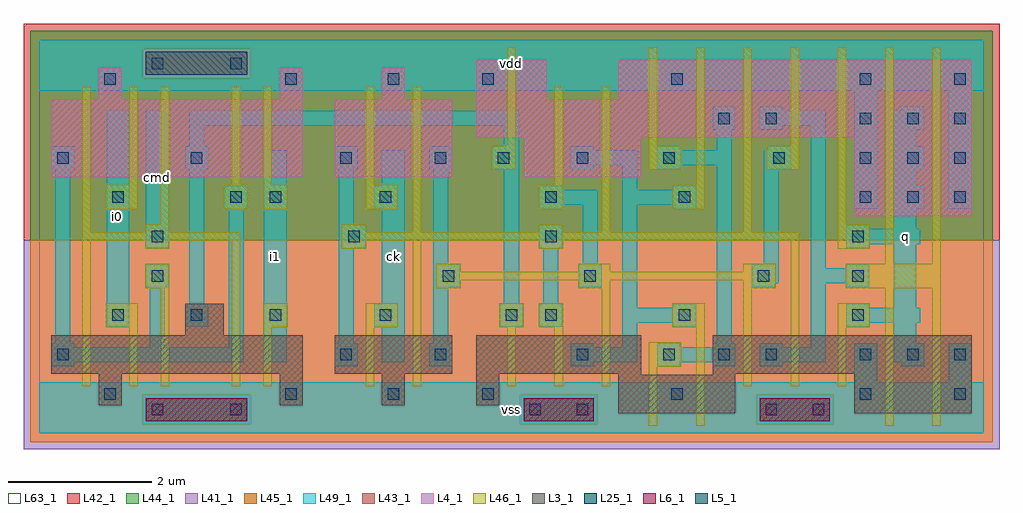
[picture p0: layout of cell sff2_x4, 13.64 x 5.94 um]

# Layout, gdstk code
import gdstk
lib = gdstk.Library(unit=1e-6, precision=1e-09)
def R(c, l, rs):  # rectangles x0, y0, x1, y1
    for r in rs: c.add(gdstk.rectangle(r[:2], r[2:], *l))
def A(c, l, x, y, w, h, nx, ny, dx, dy):  # array of equal rectangles
    R(c, l, [(x+i*dx, y+j*dy, x+i*dx+w, y+j*dy+h) for i in range(nx) for j in range(ny)])
L3_1 = (3, 1)
L4_1 = (4, 1)
L5_1 = (5, 1)
L6_1 = (6, 1)
L25_1 = (25, 1)
L41_1 = (41, 1)
L42_1 = (42, 1)
L43_1 = (43, 1)
L44_1 = (44, 1)
L45_1 = (45, 1)
L46_1 = (46, 1)
L49_1 = (49, 1)
L63_1 = (63, 1)

sff2_x4 = lib.new_cell('sff2_x4')
R(sff2_x4, L3_1, [(8.09,0.28,9.73,0.82), (11.39,0.28,13.03,0.83), (0.83,0.39,1.15,0.83), (3.36,0.39,3.68,0.83), (4.79,0.39,5.11,0.83), (6.11,0.39,6.43,0.83), (8.09,0.82,8.41,0.83), (9.41,0.82,9.73,0.83), (0.17,0.83,3.68,1.37), (4.13,0.83,5.77,1.37), (6.11,0.83,8.41,1.37), (9.41,0.83,13.03,1.37), (2.04,1.37,2.58,1.81)])
R(sff2_x4, L4_1, [(11.39,3.03,13.03,4.13), (0.17,3.58,3.68,4.67), (4.13,3.58,5.77,4.67), (6.77,3.58,8.41,4.13), (6.11,4.13,13.03,4.67), (0.83,4.67,1.15,5.11), (3.36,4.67,3.68,5.11), (4.79,4.67,5.11,5.11), (6.11,4.67,7.09,5.22), (8.09,4.67,13.03,5.22)])
R(sff2_x4, L5_1, [(1.49,5.01,2.91,5.33)])
R(sff2_x4, L6_1, [(1.49,0.17,2.91,0.49), (6.77,0.17,7.75,0.49), (10.07,0.17,11.05,0.49)])
A(sff2_x4, L25_1, 6.19, 0.47, 0.16, 0.16, 3, 2, 2.64, 4.4)
A(sff2_x4, L25_1, 11.47, 1.02, 0.16, 0.16, 3, 2, 0.66, 2.2)
A(sff2_x4, L25_1, 1.02, 1.57, 0.16, 0.16, 3, 1, 1.1, 0)
A(sff2_x4, L25_1, 11.36, 1.57, 0.16, 0.16, 1, 3, 0, 0.55)
A(sff2_x4, L25_1, 1.57, 2.67, 0.16, 0.16, 3, 1, 2.75, 0)
A(sff2_x4, L25_1, 11.47, 3.77, 0.16, 0.16, 3, 2, 0.66, 0.55)
R(sff2_x4, L25_1, [(1.57,0.25,1.73,0.41), (2.67,0.25,2.83,0.41), (6.85,0.25,7.01,0.41), (7.51,0.25,7.67,0.41), (10.15,0.25,10.31,0.41), (10.81,0.25,10.97,0.41), (0.91,0.47,1.07,0.63), (3.44,0.47,3.6,0.63), (4.87,0.47,5.03,0.63), (12.79,0.47,12.95,0.63), (0.25,1.02,0.41,1.18), (4.21,1.02,4.37,1.18), (5.53,1.02,5.69,1.18), (7.51,1.02,7.67,1.18), (8.72,1.02,8.88,1.18), (9.49,1.02,9.65,1.18), (10.15,1.02,10.31,1.18), (4.76,1.57,4.92,1.73), (6.52,1.57,6.68,1.73), (7.07,1.57,7.23,1.73), (8.94,1.57,9.1,1.73), (1.57,2.12,1.73,2.28), (5.64,2.12,5.8,2.28), (7.62,2.12,7.78,2.28), (10.04,2.12,10.2,2.28), (1.02,3.22,1.18,3.38), (2.67,3.22,2.83,3.38), (3.22,3.22,3.38,3.38), (4.76,3.22,4.92,3.38), (7.07,3.22,7.23,3.38), (8.94,3.22,9.1,3.38), (0.25,3.77,0.41,3.93), (2.12,3.77,2.28,3.93), (4.21,3.77,4.37,3.93), (5.53,3.77,5.69,3.93), (6.41,3.77,6.57,3.93), (7.51,3.77,7.67,3.93), (8.72,3.77,8.88,3.93), (10.26,3.77,10.42,3.93), (9.49,4.32,9.65,4.48), (10.15,4.32,10.31,4.48), (0.91,4.87,1.07,5.03), (3.44,4.87,3.6,5.03), (4.87,4.87,5.03,5.03), (12.79,4.87,12.95,5.03), (1.57,5.09,1.73,5.25), (2.67,5.09,2.83,5.25)])
R(sff2_x4, L41_1, [(-0.22,-0.22,13.42,2.695)])
R(sff2_x4, L42_1, [(-0.22,2.695,13.42,5.72)])
R(sff2_x4, L43_1, [(1.49,0.17,2.91,0.49), (6.77,0.17,7.75,0.49), (10.07,0.17,11.05,0.49), (8.09,0.28,9.73,0.82), (11.39,0.28,13.03,0.83), (0.83,0.39,1.15,0.83), (3.36,0.39,3.68,0.83), (4.79,0.39,5.11,0.83), (6.11,0.39,6.43,0.83), (8.09,0.82,8.41,0.83), (9.41,0.82,9.73,0.83), (0.17,0.83,3.68,1.37), (4.13,0.83,5.77,1.37), (6.11,0.83,8.41,1.37), (9.41,0.83,13.03,1.37), (2.04,1.37,2.58,1.81), (11.39,3.03,13.03,4.13), (0.17,3.58,3.68,4.67), (4.13,3.58,5.77,4.67), (6.77,3.58,8.41,4.13), (6.11,4.13,13.03,4.67), (0.83,4.67,1.15,5.11), (3.36,4.67,3.68,5.11), (4.79,4.67,5.11,5.11), (6.11,4.67,7.09,5.22), (8.09,4.67,13.03,5.22), (1.49,5.01,2.91,5.33)])
R(sff2_x4, L44_1, [(1.445,0.125,2.955,0.535), (6.725,0.125,7.795,0.535), (10.025,0.125,11.095,0.535), (-0.125,2.695,13.325,4.965), (-0.125,4.965,1.445,5.375), (2.955,4.965,13.325,5.375), (-0.125,5.375,13.325,5.625)])
R(sff2_x4, L45_1, [(-0.125,-0.125,13.325,0.125), (-0.125,0.125,1.445,0.535), (2.955,0.125,6.725,0.535), (7.795,0.125,10.025,0.535), (11.095,0.125,13.325,0.535), (-0.125,0.535,13.325,2.695), (1.445,4.965,2.955,5.375)])
A(sff2_x4, L46_1, 1.48, 2.58, 0.34, 0.11, 3, 2, 2.75, 0.23)
A(sff2_x4, L46_1, 6.54, 4.02, 0.12, 1.375, 3, 1, 1.98, 0)
R(sff2_x4, L46_1, [(8.52,0.105,8.64,0.93), (9.18,0.105,9.3,1.48), (11.82,0.105,11.94,2.03), (12.48,0.105,12.6,2.03), (0.6,0.655,0.72,2.69), (1.26,0.655,1.38,1.48), (1.7,0.655,1.82,2.03), (2.69,0.655,2.81,2.69), (3.13,0.655,3.25,1.48), (4.56,0.655,4.68,1.48), (5.22,0.655,5.34,2.69), (6.54,0.655,6.66,1.48), (7.2,0.655,7.32,1.48), (7.86,0.655,7.98,2.03), (9.84,0.655,9.96,2.03), (10.5,0.655,10.62,2.69), (11.16,0.655,11.28,1.48), (8.52,0.93,8.97,1.27), (0.93,1.48,1.38,1.82), (3.13,1.48,3.47,1.82), (4.56,1.48,5.01,1.82), (6.43,1.48,6.77,1.82), (6.98,1.48,7.32,1.82), (8.85,1.48,9.3,1.82), (11.16,1.48,11.61,1.82), (1.48,2.03,1.82,2.37), (5.55,2.03,5.89,2.14), (7.53,2.03,7.98,2.14), (9.84,2.03,10.29,2.14), (11.27,2.03,12.6,2.37), (5.55,2.14,10.29,2.26), (5.55,2.26,5.89,2.37), (7.53,2.26,7.98,2.37), (9.84,2.26,10.29,2.37), (11.82,2.37,11.94,5.395), (12.48,2.37,12.6,5.395), (11.16,2.58,11.61,2.92), (0.6,2.69,2.81,2.81), (4.23,2.69,10.62,2.81), (0.6,2.81,0.72,4.845), (5.22,2.81,5.34,4.845), (7.86,2.81,7.98,4.845), (9.84,2.81,9.96,5.395), (1.7,2.92,1.82,4.845), (11.16,2.92,11.28,5.395), (0.93,3.13,1.38,3.47), (2.58,3.13,2.92,3.47), (3.13,3.13,3.47,3.47), (4.56,3.13,5.01,3.47), (6.98,3.13,7.32,3.47), (8.85,3.13,9.3,3.47), (1.26,3.47,1.38,4.845), (2.69,3.47,2.81,4.845), (3.13,3.47,3.25,4.845), (4.56,3.47,4.68,4.845), (7.2,3.47,7.32,4.845), (9.18,3.47,9.3,5.395), (6.32,3.68,6.66,4.02), (8.52,3.68,8.97,4.02), (10.17,3.68,10.62,4.02)])
R(sff2_x4, L49_1, [(0,0,13.2,0.71), (11.39,0.71,11.71,1.26), (12.71,0.71,13.03,1.26), (0.17,0.94,0.49,0.995), (4.13,0.94,4.45,1.26), (5.45,0.94,5.77,1.26), (7.43,0.94,7.75,0.995), (8.64,0.94,8.96,0.995), (9.41,0.94,9.73,0.995), (10.07,0.94,10.39,0.995), (12.05,0.94,12.37,0.995), (0.17,0.995,2.855,1.205), (3.14,0.995,3.46,3.955), (4.79,0.995,5.11,1.49), (7.43,0.995,8.355,1.205), (8.64,0.995,9.73,1.205), (10.07,0.995,10.995,1.205), (11.94,0.995,12.37,1.26), (0.17,1.205,0.49,1.26), (1.545,1.205,1.755,2.04), (2.645,1.205,2.855,3.14), (7.43,1.205,7.75,1.26), (8.145,1.205,8.355,1.545), (8.64,1.205,8.96,1.26), (9.41,1.205,9.73,1.26), (10.07,1.205,10.39,1.26), (10.785,1.205,10.995,2.095), (0.225,1.26,0.435,3.69), (4.185,1.26,4.395,2.59), (5.505,1.26,5.715,2.04), (9.465,1.26,9.675,3.745), (11.94,1.26,12.26,1.545), (0.94,1.49,1.26,4.505), (2.04,1.49,2.36,1.81), (4.68,1.49,5.11,1.81), (6.44,1.49,6.76,1.81), (6.99,1.49,7.31,1.81), (8.86,1.49,9.18,1.545), (11.28,1.49,11.6,1.545), (8.145,1.545,9.18,1.755), (11.28,1.545,12.315,1.755), (8.145,1.755,8.355,3.195), (8.86,1.755,9.18,1.81), (11.28,1.755,11.6,1.81), (11.94,1.755,12.26,2.645), (2.095,1.81,2.305,3.69), (4.79,1.81,5.11,3.14), (6.495,1.81,6.705,3.69), (7.045,1.81,7.255,2.59), (1.49,2.04,1.81,2.36), (5.505,2.04,5.88,2.36), (7.54,2.04,7.86,2.36), (9.96,2.04,10.28,2.095), (11.28,2.04,11.6,2.095), (9.96,2.095,10.335,2.36), (10.785,2.095,11.6,2.305), (10.785,2.305,10.995,4.295), (11.28,2.305,11.6,2.36), (5.505,2.36,5.715,3.69), (7.595,2.36,7.805,3.195), (10.125,2.36,10.335,3.69), (1.49,2.59,1.81,4.505), (4.185,2.59,4.56,2.91), (6.99,2.59,7.31,2.91), (11.28,2.59,11.6,2.645), (11.28,2.645,12.315,2.855), (11.28,2.855,11.6,2.91), (11.94,2.855,12.26,3.14), (4.185,2.91,4.395,3.69), (2.59,3.14,2.91,3.46), (4.68,3.14,5.11,3.46), (6.99,3.14,7.31,3.195), (8.86,3.14,9.18,3.195), (11.39,3.14,11.71,4.79), (11.94,3.14,12.37,3.46), (12.71,3.14,13.03,4.79), (6.99,3.195,7.805,3.405), (8.145,3.195,9.18,3.405), (6.99,3.405,7.31,3.46), (8.145,3.405,8.355,3.745), (8.86,3.405,9.18,3.46), (4.79,3.46,5.11,3.955), (11.94,3.46,12.26,3.69), (0.17,3.69,0.49,4.01), (2.04,3.69,2.36,4.01), (4.13,3.69,4.45,4.01), (5.45,3.69,5.77,4.01), (6.33,3.69,6.705,4.01), (7.43,3.69,7.75,3.745), (8.64,3.69,8.96,3.745), (10.125,3.69,10.5,3.955), (11.94,3.69,12.37,4.01), (7.43,3.745,8.355,3.955), (8.64,3.745,9.675,3.955), (7.43,3.955,7.75,4.01), (8.64,3.955,8.96,4.01), (9.465,3.955,9.675,4.24), (10.18,3.955,10.5,4.01), (2.095,4.01,2.305,4.295), (6.495,4.01,6.705,4.295), (11.94,4.01,12.26,4.24), (9.41,4.24,9.73,4.56), (10.07,4.24,10.39,4.295), (11.94,4.24,12.37,4.505), (2.095,4.295,6.705,4.505), (10.07,4.295,10.995,4.505), (10.07,4.505,10.39,4.56), (12.05,4.505,12.37,4.56), (0,4.79,13.2,5.5)])
R(sff2_x4, L63_1, [(0,0,13.2,5.5)])
sff2_x4.add(gdstk.Label('i0', (1.1,3.025), layer=49, texttype=1))
sff2_x4.add(gdstk.Label('i0', (1.1,3.025), layer=49, texttype=1))
sff2_x4.add(gdstk.Label('cmd', (1.65,3.575), layer=49, texttype=1))
sff2_x4.add(gdstk.Label('cmd', (1.65,3.575), layer=49, texttype=1))
sff2_x4.add(gdstk.Label('ck', (4.95,2.475), layer=49, texttype=1))
sff2_x4.add(gdstk.Label('i1', (3.3,2.475), layer=49, texttype=1))
sff2_x4.add(gdstk.Label('ck', (4.95,2.475), layer=49, texttype=1))
sff2_x4.add(gdstk.Label('i1', (3.3,2.475), layer=49, texttype=1))
sff2_x4.add(gdstk.Label('vss', (6.6,0.33), layer=49, texttype=1))
sff2_x4.add(gdstk.Label('vss', (6.6,0.33), layer=49, texttype=1))
sff2_x4.add(gdstk.Label('vdd', (6.6,5.17), layer=49, texttype=1))
sff2_x4.add(gdstk.Label('vdd', (6.6,5.17), layer=49, texttype=1))
sff2_x4.add(gdstk.Label('q', (12.1,2.75), layer=49, texttype=1))
sff2_x4.add(gdstk.Label('q', (12.1,2.75), layer=49, texttype=1))

lib.write_gds('sff2_x4.gds')
